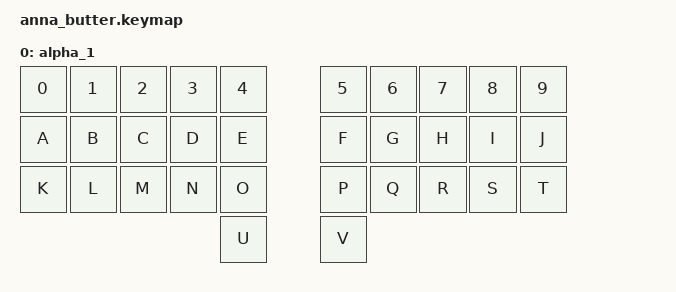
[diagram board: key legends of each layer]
/*
 * Copyright (c) 2021 The ZMK Contributors
 *
 * SPDX-License-Identifier: MIT
 */

#include <behaviors.dtsi>
#include <dt-bindings/zmk/keys.h>
#include <dt-bindings/zmk/bt.h>
#include <dt-bindings/zmk/outputs.h>

/* UNIVERSAL GERMAN KEY CODES */
#define DE_Z    Y             // Z
#define DE_Y    Z             // Y
#define DE_SS   MINUS         // ß


/* MAC GERMAN KEYBOARD CODES */
#define MAC_AT LA(L)           // @
#define MAC_EURO LA(E)         // €
#define MAC_TILD LA(N)         // ~
#define MAC_BSLS LS(LA(NUMBER_7)) // (backslash)
#define MAC_LBRC LA(NUMBER_5)     // [
#define MAC_RBRC LA(NUMBER_6)     // ]
#define MAC_PIPE LA(NUMBER_7)     // |
#define MAC_LCBR LA(NUMBER_8)     // {
#define MAC_RCBR LA(NUMBER_9)     // }

/* DIN GERMAN KEYBOARD CODES */
#define DE_CIRC GRAVE // ^ (dead)
#define DE_ACUT EQUAL // ´ (dead)
#define DE_UNDS LS(DE_MINS) // _
#define DE_UDIA LEFT_BRACKET // Ü
#define DE_PLUS RIGHT_BRACKET // +
#define DE_ODIA SEMICOLON    // Ö
#define DE_ADIA SINGLE_QUOTE // Ä
#define DE_HASH NON_US_HASH  // #
#define DE_LABK NON_US_BACKSLASH // <
#define DE_EXLM LS(NUMBER_1)    // !
#define DE_DQUO LS(NUMBER_2)    // "
#define DE_SECT LS(NUMBER_3)    // §
#define DE_DLR  LS(NUMBER_4)    // $
#define DE_PERC LS(NUMBER_5)    // %
#define DE_AMPR LS(NUMBER_6)    // &
#define DE_SLSH LS(NUMBER_7)    // /
#define DE_LPRN LS(NUMBER_8)    // (
#define DE_RPRN LS(NUMBER_9)    // )
#define DE_EQL  LS(NUMBER_0)    // =
#define DE_MINS SLASH            // -
#define DE_DEG  LS(DE_CIRC) // °
#define DE_QUES LS(DE_SS)   // ?
#define DE_GRV  LS(DE_ACUT) // ` (dead)
#define DE_ASTR LS(DE_PLUS) // *
#define DE_QUOT LS(DE_HASH) // '
#define DE_RABK LS(DE_LABK) // >
#define DE_SCLN LS(COMMA) // ;
#define DE_COLN LS(PERIOD)  // :

#define DE_AT RA(Q)           // @
#define DE_EURO RA(E)         // €
#define DE_TILD RA(DE_PLUS)         // ~
#define DE_BSLS RA(DE_SS) // (backslash)
#define DE_LBRC RA(NUMBER_8)     // [
#define DE_RBRC RA(NUMBER_9)     // ]
#define DE_PIPE RA(DE_LABK)     // |
#define DE_LCBR RA(NUMBER_7)     // {
#define DE_RCBR RA(NUMBER_0)     // }


#define _____ &none

#define ALP 0
#define PC  1
#define SYM 2
#define DSM 3
#define NUM 4
#define FUN 5

#define DE_UE DE_UDIA
#define DE_AE DE_ADIA
#define DE_OE DE_ODIA

#define HYP LG(LC(LS(LALT))) 

&caps_word {
    continue-list = <DE_UNDS DE_MINS BACKSPACE DELETE>;
};

&mt {
  quick-tap-ms = <125>;
  global-quick-tap;
  flavor = "tap-preferred";
  tapping-term-ms = <250>;
};

&lt {
  quick-tap-ms = <125>;
  global-quick-tap;
  flavor = "tap-preferred";
  tapping-term-ms = <250>;
};

&sk {
    quick-release;
};

&sl {
    quick-release;
};

/{
  keymap {
    compatible = "zmk,keymap";

        // This is a sample keymap intended to be replaced with your own
    alpha_1 {
      bindings = <
        &kp N0 &kp N1 &kp N2 &kp N3 &kp N4 &kp N5 &kp N6  &kp N7  &kp N8  &kp N9
        &kp A  &kp B  &kp C  &kp D  &kp E  &kp F  &kp G   &kp H   &kp I   &kp J
        &kp K  &kp L  &kp M  &kp N  &kp O  &kp P  &kp Q   &kp R   &kp S   &kp T 
                                    &kp U  &kp V 
      >;
    };


/*
    mac_base {
      bindings = <
        &kp J         &kp L         &lt FUN U   &kp A      &kp Q     &kp W &kp B      &lt FUN D   &kp G         &kp DE_SS
        &mt LALT C    &mt LSHIFT R  &mt LCTRL I &mt LGUI E &kp O     &kp M &mt LGUI N &mt LCTRL T &mt LSHIFT S  &mt LALT H
        &kp V         &kp X         &kp DE_UE   &kp DE_AE  &kp DE_OE &kp P &lt SYM F  &kp DE_Z    &kp K         &kp DE_Y
        &lt NUM SPACE &sl SYM
      >;
    };

    pc_base {
      bindings = <
        &trans     &trans       &trans     &trans      &trans &trans &trans      &trans     &trans       &trans
        &mt LALT C &mt LSHIFT R &mt LGUI I &mt LCTRL E &trans &trans &mt LCTRL N &mt LGUI T &mt LSHIFT S &mt LALT H
        &trans     &trans       &trans     &trans      &trans &trans &trans      &trans     &trans       &trans
        &trans     &sl DSM
      >;
    };


    mac_sym {
      bindings = < 
        &kp DE_CIRC  &kp DE_UNDS &kp MAC_LBRC  &kp MAC_RBRC  &kp DE_PLUS &kp DE_EXLM &kp DE_LABK  &kp DE_RABK &kp DE_EQL  &kp DE_DEG
        &kp MAC_BSLS &kp DE_SLSH &kp MAC_LCBR  &kp MAC_RCBR  &kp DE_ASTR &kp DE_QUES &kp DE_LPRN  &kp DE_RPRN &kp DE_MINS &kp DE_COLN
        &kp DE_HASH  &kp DE_DLR  &kp MAC_PIPE  &kp MAC_TILD  &kp DE_GRV  &kp DE_AMPR &kp MAC_EURO &kp DE_DQUO &kp DE_QUOT &kp DE_SCLN
        &kp MAC_AT   &to NUM // &kp DE_PERC
      >;
    };


    pc_sym {
      bindings = <
        &trans      &trans &kp DE_LBRC &kp DE_RBRC &trans &trans &trans  &trans &trans  &trans
        &kp DE_BSLS &trans &kp DE_LCBR &kp DE_RCBR &trans &trans &trans      &trans &trans &trans
        &trans      &trans &kp DE_PIPE &kp DE_TILD &trans &trans &kp DE_EURO &trans &trans &trans
        &kp DE_AT   &trans
      >;
    };
    
    num {
      bindings = <
        &kp N1      &kp N2    &kp N3        &kp N4      &kp N5      &kp N6    &kp N7          &kp N8    &kp N9    &kp N0  
        &kp ESC     &kp TAB   &kp ENTER     &kp DELETE  &kp PERIOD  &kp COMMA &kp LEFT        &kp DOWN  &kp UP    &kp RIGHT 
        _____       _____     &kp BACKSPACE &kp SPACE   _____       _____     &kp HOME        &kp PG_DN &kp PG_UP &kp END
        &kp BACKSPACE _____
      >;
    };

    fun {
      bindings = <
        &kp F1        &kp F2        &kp F3            &kp F4        &kp F5          &kp F6        &kp F7        &kp F8      &kp F9        &kp F10
        &kp F11       &kp C_PREV    &kp C_PLAY_PAUSE  &kp C_NEXT    &kp LS(LC(TAB)) &kp LC(TAB)   &kp C_VOL_UP  &kp C_MUTE  &kp C_VOL_DN  &kp F12
        &bt BT_SEL 0  &bt BT_SEL 1  &bt BT_SEL 2      &out OUT_TOG  &reset          _____         &to ALP       &to PC      _____         &bt BT_CLR
        &bootloader  &bootloader
      >;
    };
*/
  };
};
